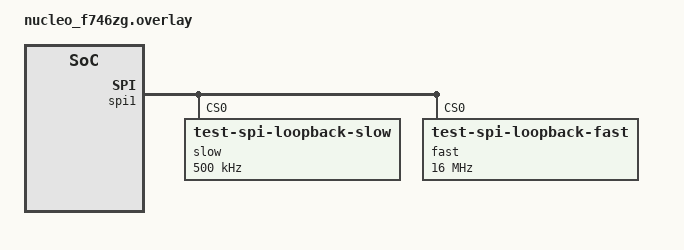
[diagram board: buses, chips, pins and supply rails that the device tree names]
/*
 * Copyright (c) 2022 Kumar Gala <galak@kernel.org>
 *
 * SPDX-License-Identifier: Apache-2.0
 */

tst_dma0: &dma2 {};

/* The test driver expects the SRAM0 region to be non-cachable */
&sram0 {
	zephyr,memory-attr = <DT_MEM_ARM(ATTR_MPU_RAM_NOCACHE)>;
};

&spi1 {
	dmas = <&dma2 5 3 0x28440 0x03>,
	       <&dma2 2 3 0x28480 0x03>;
	dma-names = "tx", "rx";
	slow@0 {
		compatible = "test-spi-loopback-slow";
		reg = <0>;
		spi-max-frequency = <500000>;
	};
	fast@0 {
		compatible = "test-spi-loopback-fast";
		reg = <0>;
		spi-max-frequency = <16000000>;
	};
};

&dma2 {
	status = "okay";
};
